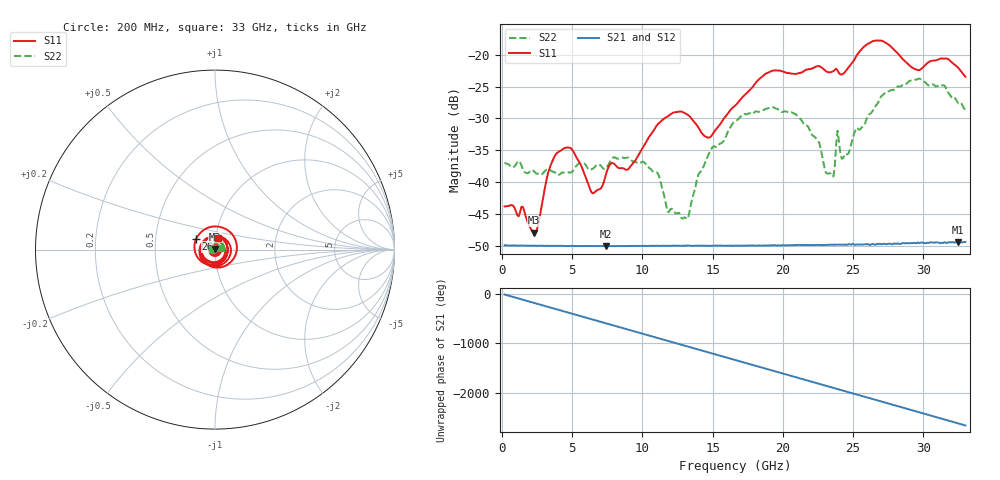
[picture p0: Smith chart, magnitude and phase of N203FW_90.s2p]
# GHZ S RI R 50
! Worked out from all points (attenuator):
!   329 points, 200 MHz to 33 GHz, reference 50 ohm
!   highest |S21| = -49.42 dB at 32.5 GHz (marker M1); lowest = -50.1 dB at 7.4 GHz (marker M2)
!   lowest |S11| = -48.0 dB at 2.3 GHz (marker M3), VSWR 1.01, Z = 50.2 + j0.352 ohm
!   |S11| at or under -10 dB: start of sweep to end of sweep
!   |S22| runs from -45.8 to -23.7 dB; largest |S21 - S12| = 8.8e-05
!   S11 on the Smith chart (normalised r, x): 200 MHz: 1.01, +0.00; 26 GHz: 0.80, +0.10; 33 GHz: 1.03, +0.13
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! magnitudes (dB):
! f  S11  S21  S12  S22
! 200 MHz  -43.8  -50.0  -49.9  -36.9
! 2.3 GHz  -48.0  -50.0  -50.0  -38.3
! 3.8 GHz  -35.8  -50.0  -50.0  -38.5
! 5.7 GHz  -37.7  -50.1  -50.0  -37.2
! 6.5 GHz  -41.8  -50.1  -50.1  -37.9
! 7.4 GHz  -38.9  -50.1  -50.0  -37.8
! 9 GHz  -38.0  -50.1  -50.1  -36.2
! 11.2 GHz  -30.7  -50.0  -50.0  -39.1
! 11.8 GHz  -29.7  -50.0  -50.0  -44.6
! 13.2 GHz  -29.4  -50.0  -50.0  -45.8
! 14.7 GHz  -33.0  -50.0  -50.0  -35.8
! 16.6 GHz  -28.0  -50.0  -50.0  -30.4
! 19.3 GHz  -22.5  -49.9  -50.0  -28.2
! 22.1 GHz  -22.1  -49.9  -49.9  -32.6
! 23.6 GHz  -22.6  -49.9  -49.8  -39.1
! 23.9 GHz  -22.4  -49.9  -49.9  -31.9
! 24.2 GHz  -23.1  -49.8  -49.8  -36.4
! 26 GHz  -18.4  -49.8  -49.8  -29.8
! 27.6 GHz  -18.5  -49.7  -49.7  -25.7
! 29.7 GHz  -22.4  -49.6  -49.6  -23.7
! 32.5 GHz  -22.1  -49.4  -49.4  -27.6
! 33 GHz  -23.4  -49.4  -49.5  -28.7
